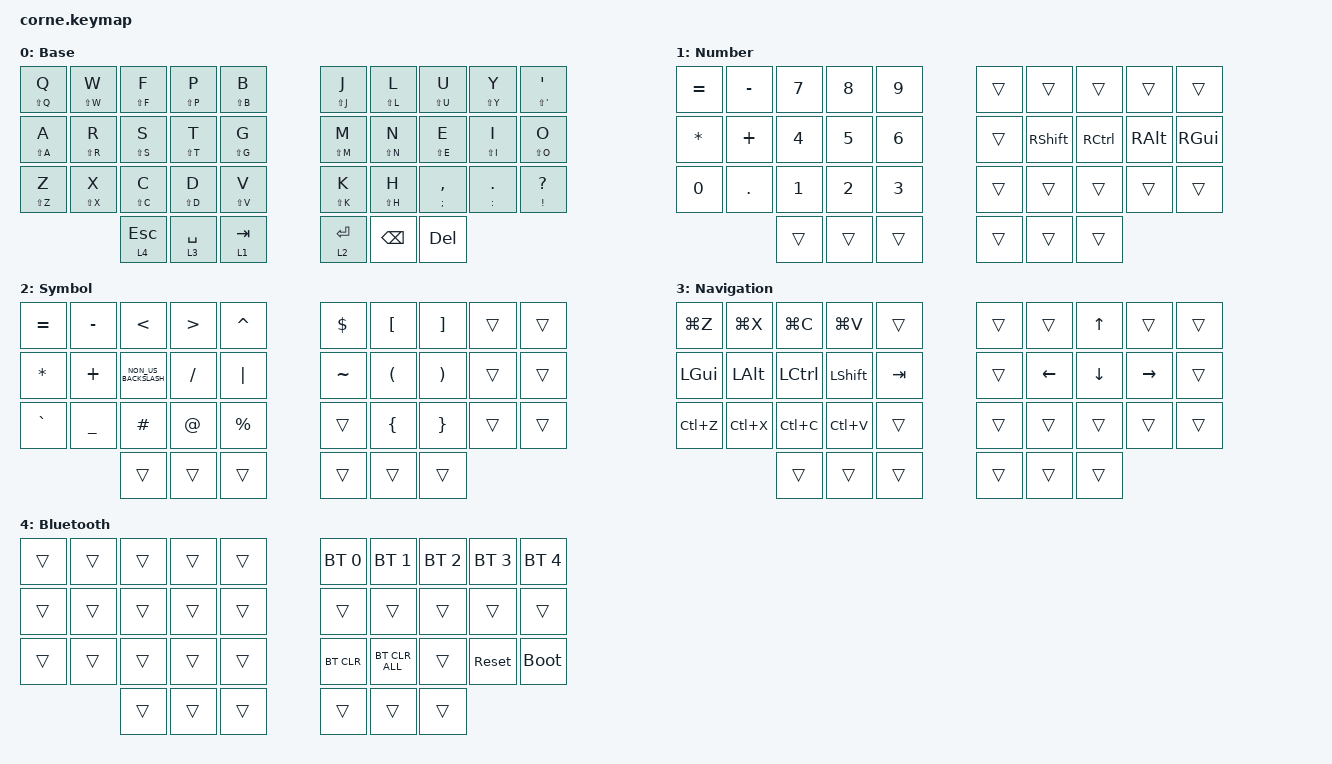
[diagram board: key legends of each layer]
#include <behaviors.dtsi>
#include <dt-bindings/zmk/bt.h>
#include <dt-bindings/zmk/keys.h>

/ {
    chosen { zmk,matrix_transform = &five_column_transform; };
};

/ {
    combos {
        compatible = "zmk,combos";

        capsword {
            bindings = <&caps_word>;
            key-positions = <13 16>;
            layers = <0>;
            timeout-ms = <50>;
        };
    };

    behaviors {
        as: as {
            compatible = "zmk,behavior-hold-tap";
            label = "AS";
            bindings = <&kp>, <&kp>;

            #binding-cells = <2>;
            tapping-term-ms = <200>;
            quick-tap-ms = <0>;
            flavor = "tap-preferred";
        };
    };

    macros {
        NumEnterOut: NumEnterOut {
            compatible = "zmk,behavior-macro";
            #binding-cells = <0>;
            bindings = <&kp ENTER &to 0>;
            label = "NUMENTEROUT";
        };

        NumSpaceOut: NumSpaceOut {
            compatible = "zmk,behavior-macro";
            #binding-cells = <0>;
            bindings = <&kp SPACE &to 0>;
            label = "NUMSPACEOUT";
        };
    };

    keymap {
        compatible = "zmk,keymap";

        Base {
            bindings = <
  &as LS(Q) Q  &as LS(W) W  &as LS(F) F   &as LS(P) P  &as LS(B) B    &as LS(J) J  &as LS(L) L    &as LS(U) U          &as LS(Y) Y       &as LS(SQT) SQT
  &as LS(A) A  &as LS(R) R  &as LS(S) S   &as LS(T) T  &as LS(G) G    &as LS(M) M  &as LS(N) N    &as LS(E) E          &as LS(I) I       &as LS(O) O
  &as LS(Z) Z  &as LS(X) X  &as LS(C) C   &as LS(D) D  &as LS(V) V    &as LS(K) K  &as LS(H) H    &as SEMICOLON COMMA  &as COLON PERIOD  &as EXCLAMATION QUESTION
                            &lt 4 ESCAPE  &lt 3 SPACE  &lt 1 TAB      &lt 2 ENTER  &kp BACKSPACE  &kp DEL
            >;
        };

        Number {
            bindings = <
  &kp EQUAL     &kp MINUS   &kp NUMBER_7  &kp NUMBER_8  &kp NUMBER_9    &trans  &trans           &trans             &trans         &trans
  &kp ASTERISK  &kp PLUS    &kp NUMBER_4  &kp NUMBER_5  &kp NUMBER_6    &trans  &kp RIGHT_SHIFT  &kp RIGHT_CONTROL  &kp RIGHT_ALT  &kp RIGHT_GUI
  &kp N0        &kp PERIOD  &kp NUMBER_1  &kp NUMBER_2  &kp NUMBER_3    &trans  &trans           &trans             &trans         &trans
                            &trans        &trans        &trans          &trans  &trans           &trans
            >;
        };

        Symbol {
            bindings = <
  &kp EQUAL     &kp MINUS  &kp LESS_THAN         &kp GREATER_THAN  &kp CARET    &kp DOLLAR  &kp LEFT_BRACKET      &kp RIGHT_BRACKET      &trans  &trans
  &kp ASTERISK  &kp PLUS   &kp NON_US_BACKSLASH  &kp SLASH         &kp PIPE     &kp TILDE   &kp LEFT_PARENTHESIS  &kp RIGHT_PARENTHESIS  &trans  &trans
  &kp GRAVE     &kp UNDER  &kp HASH              &kp AT_SIGN       &kp PRCNT    &trans      &kp LEFT_BRACE        &kp RIGHT_BRACE        &trans  &trans
                           &trans                &trans            &trans       &trans      &trans                &trans
            >;
        };

        Navigation {
            bindings = <
  &kp LG(Z)     &kp LG(X)     &kp LG(C)         &kp LG(V)       &trans     &trans  &trans          &kp UP_ARROW    &trans           &trans
  &kp LEFT_GUI  &kp LEFT_ALT  &kp LEFT_CONTROL  &kp LEFT_SHIFT  &kp TAB    &trans  &kp LEFT_ARROW  &kp DOWN_ARROW  &kp RIGHT_ARROW  &trans
  &kp LC(Z)     &kp LC(X)     &kp LC(C)         &kp LC(V)       &trans     &trans  &trans          &trans          &trans           &trans
                              &trans            &trans          &trans     &trans  &trans          &trans
            >;
        };

        Bluetooth {
            bindings = <
  &trans  &trans  &trans  &trans  &trans    &bt BT_SEL 0  &bt BT_SEL 1    &bt BT_SEL 2  &bt BT_SEL 3  &bt BT_SEL 4
  &trans  &trans  &trans  &trans  &trans    &trans        &trans          &trans        &trans        &trans
  &trans  &trans  &trans  &trans  &trans    &bt BT_CLR    &bt BT_CLR_ALL  &trans        &sys_reset    &bootloader
                  &trans  &trans  &trans    &trans        &trans          &trans
            >;
        };
    };
};
